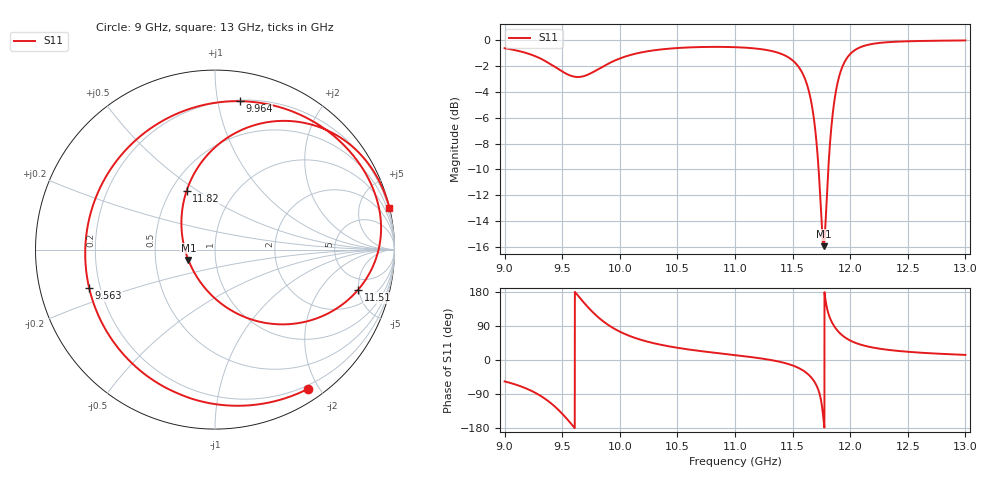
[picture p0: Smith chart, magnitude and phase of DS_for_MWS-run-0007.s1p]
! TOUCHSTONE file generated by CST DESIGN STUDIO
! Date and time: Tue Feb  4 18:09:27 2025
! Project name: C:\Work\MatlabApps\UnitCellOptimizationMatlab\CST\unitcell.cst
! Tree item: Tasks\Sweep1\SPara1\S-Parameters
! Header version: 2024
! Port assignment regex: !\s*Touchstone port\s*([0-9]+)\s*=\s*(CST MWS port|CST DES external port|CST DES block port)\s*(.+)\s* \(\"(.*)\"\)(\s*mode\s*([0-9]+))?.*
! Touchstone port assignment:
! Touchstone port 1 = CST DES external port 1 ("")
# GHz S MA R 50
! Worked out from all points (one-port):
!   4001 points, 9 GHz to 13 GHz, reference 50 ohm
!   lowest |S11| = -16.0 dB at 11.77 GHz (marker M1), VSWR 1.38, Z = 36.9 - j4.41 ohm
!   |S11| at or under -10 dB: 11.73 GHz to 11.81 GHz (83.85 MHz wide, 0.713 % of centre)
!   S11 on the Smith chart (normalised r, x): 9 GHz: 0.16, -1.85; 9.563 GHz: 0.16, -0.14; 9.964 GHz: 0.21, +1.16; 11.51 GHz: 3.43, -4.89; 11.82 GHz: 0.60, +0.45; 13 GHz: 0.01, +8.47
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9  0.9327 -56.5
9.159  0.9013 -71.7
9.31  0.8514 -94.2
9.409  0.8044 -115.7
9.5  0.7581 -141.8
9.563  0.733 -163.1
9.658  0.7225 162.2
9.769  0.7541 125.1
9.859  0.7946 101.3
9.964  0.8384 80.6
10  0.8511 74.8
10.216  0.9037 50.4
10.5  0.9343 32.2
11  0.9415 12.9
11.317  0.9102 -0.3
11.5  0.8367 -14.4
11.512  0.8277 -15.7
11.603  0.7178 -30.1
11.679  0.5193 -52.7
11.725  0.32 -80.2
11.769  0.1593 -158.5
11.818  0.3625 116.0
11.855  0.55 92.2
11.893  0.6925 76.4
12  0.8856 51.4
12.179  0.9669 33.9
12.5  0.9925 21.7
13  0.9997 13.5
